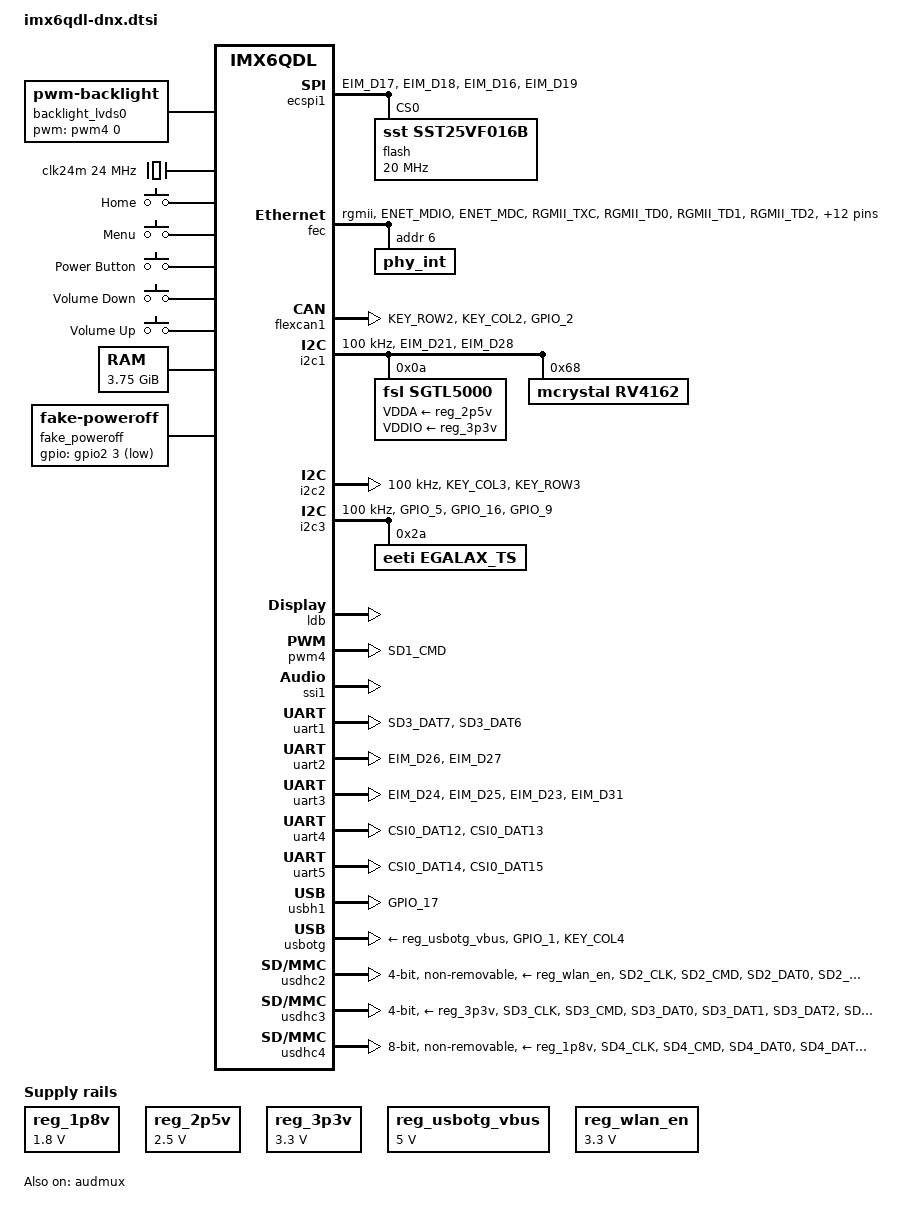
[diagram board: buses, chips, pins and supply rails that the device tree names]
/*
 * Copyright 2016 Boundary Devices, Inc.
 *
 * The code contained herein is licensed under the GNU General Public
 * License. You may obtain a copy of the GNU General Public License
 * Version 2 or later at the following locations:
 *
 * http://www.opensource.org/licenses/gpl-license.html
 * http://www.gnu.org/copyleft/gpl.html
 */
#include <dt-bindings/input/input.h>

&iomuxc {
	pinctrl-names = "default";
	pinctrl-0 = <&pinctrl_hog>;

	iomuxc_imx6q_dnx: iomuxc-imx6q-dnxgrp {
		status = "okay";
	};
};

&iomuxc_imx6q_dnx {
	pinctrl_audmux: audmuxgrp {
		fsl,pins = <
			MX6QDL_PAD_CSI0_DAT7__AUD3_RXD		0x130b0
			MX6QDL_PAD_CSI0_DAT4__AUD3_TXC		0x130b0
			MX6QDL_PAD_CSI0_DAT5__AUD3_TXD		0x110b0
			MX6QDL_PAD_CSI0_DAT6__AUD3_TXFS		0x130b0
		>;
	};

	pinctrl_bt_rfkill: bt-rfkillgrp {
		fsl,pins = <
#define GP_BT_RFKILL_RESET	<&gpio6 16 GPIO_ACTIVE_LOW>
			MX6QDL_PAD_NANDF_CS3__GPIO6_IO16	0x030b0
		>;
	};

	pinctrl_ecspi1: ecspi1grp {
		fsl,pins = <
			MX6QDL_PAD_EIM_D17__ECSPI1_MISO		0x100b1
			MX6QDL_PAD_EIM_D18__ECSPI1_MOSI		0x100b1
			MX6QDL_PAD_EIM_D16__ECSPI1_SCLK		0x000b1
#define GP_ECSPI1_NOR_CS	<&gpio3 19 GPIO_ACTIVE_LOW>
			MX6QDL_PAD_EIM_D19__GPIO3_IO19		0x0b0b1
		>;
	};

	pinctrl_enet: enetgrp {
		fsl,pins = <
			MX6QDL_PAD_ENET_MDIO__ENET_MDIO		0x1b0b0
			MX6QDL_PAD_ENET_MDC__ENET_MDC		0x1b0b0
			MX6QDL_PAD_RGMII_TXC__RGMII_TXC		0x1b0b0
			MX6QDL_PAD_RGMII_TD0__RGMII_TD0		0x1b0b0
			MX6QDL_PAD_RGMII_TD1__RGMII_TD1		0x1b0b0
			MX6QDL_PAD_RGMII_TD2__RGMII_TD2		0x1b0b0
			MX6QDL_PAD_RGMII_TD3__RGMII_TD3		0x1b0b0
			MX6QDL_PAD_RGMII_TX_CTL__RGMII_TX_CTL	0x1b0b0
			MX6QDL_PAD_ENET_REF_CLK__ENET_TX_CLK	0x1b0b0
			MX6QDL_PAD_RGMII_RXC__RGMII_RXC		0x1b0b0
			MX6QDL_PAD_RGMII_RD0__RGMII_RD0		0x1b0b0
			MX6QDL_PAD_RGMII_RD1__RGMII_RD1		0x1b0b0
			MX6QDL_PAD_RGMII_RD2__RGMII_RD2		0x1b0b0
			MX6QDL_PAD_RGMII_RD3__RGMII_RD3		0x1b0b0
			MX6QDL_PAD_RGMII_RX_CTL__RGMII_RX_CTL	0x1b0b0
#define GP_ENET_PHY_RESET	<&gpio1 27 GPIO_ACTIVE_LOW>
			MX6QDL_PAD_ENET_RXD0__GPIO1_IO27	0x030b0		/* ethernet phy reset */
#define GPIRQ_ENET_PHY		<&gpio1 28 IRQ_TYPE_LEVEL_LOW>
			MX6QDL_PAD_ENET_TX_EN__GPIO1_IO28	0x1b0b0		/* ethernet phy interrupt */
#define GPIRQ_ENET		<&gpio1 6 IRQ_TYPE_LEVEL_HIGH>
			MX6QDL_PAD_GPIO_6__ENET_IRQ		0x000b1
		>;
	};

	pinctrl_flexcan1: flexcan1grp {
		fsl,pins = <
			MX6QDL_PAD_KEY_ROW2__FLEXCAN1_RX	0x1b0b0
			MX6QDL_PAD_KEY_COL2__FLEXCAN1_TX	0x1b0b0
#define GP_FLEXCAN1_STANDBY	<&gpio1 2 GPIO_ACTIVE_HIGH>
			MX6QDL_PAD_GPIO_2__GPIO1_IO02		0x0b0b0
		>;
	};

	pinctrl_gpio_keys: gpio-keysgrp {
		fsl,pins = <
#define GP_GPIOKEY_BACK		<&gpio2 2 GPIO_ACTIVE_LOW>
			MX6QDL_PAD_NANDF_D2__GPIO2_IO02		0x1b0b0
#define GP_GPIOKEY_HOME		<&gpio2 4 GPIO_ACTIVE_LOW>
			MX6QDL_PAD_NANDF_D4__GPIO2_IO04		0x1b0b0
#define GP_GPIOKEY_MENU		<&gpio2 1 GPIO_ACTIVE_LOW>
			MX6QDL_PAD_NANDF_D1__GPIO2_IO01		0x1b0b0
#define GP_GPIOKEY_POWER	<&gpio2 3 GPIO_ACTIVE_LOW>
			MX6QDL_PAD_NANDF_D3__GPIO2_IO03		0x1b0b0
#define GP_GPIOKEY_VOL_DN	<&gpio4 5 GPIO_ACTIVE_LOW>
			MX6QDL_PAD_GPIO_19__GPIO4_IO05		0x1b0b0
#define GP_GPIOKEY_VOL_UP	<&gpio7 13 GPIO_ACTIVE_LOW>
			MX6QDL_PAD_GPIO_18__GPIO7_IO13		0x1b0b0
		>;
	};

	pinctrl_hog: hoggrp {
		fsl,pins = <
#define GP_HOG_TP71	<&gpio2 7 GPIO_ACTIVE_LOW>
			MX6QDL_PAD_NANDF_D7__GPIO2_IO07		0x1b0b0
		>;
	};

	pinctrl_i2c1: i2c1grp {
		fsl,pins = <
			MX6QDL_PAD_EIM_D21__I2C1_SCL		0x4001b8b1
			MX6QDL_PAD_EIM_D28__I2C1_SDA		0x4001b8b1
		>;
	};

	pinctrl_i2c1_rv4162: i2c1-rv4162grp {
		fsl,pins = <
#define GPIRQ_RTC_RV4162	<&gpio6 7 IRQ_TYPE_LEVEL_LOW>
			MX6QDL_PAD_NANDF_CLE__GPIO6_IO07	0x1b0b0
		>;
	};

	pinctrl_i2c1_sgtl5000: i2c1-sgtl5000grp {
		fsl,pins = <
			MX6QDL_PAD_GPIO_0__CCM_CLKO1		0x000b0		/* sys_mclk */
#define GP_SGTL5000_HP_MUTE	<&gpio3 29 GPIO_ACTIVE_LOW>
			MX6QDL_PAD_EIM_D29__GPIO3_IO29		0x130b0		/* amplifier mute, weak pull-down */
#define GP_SGTL5000_HP_DET	<&gpio3 2 GPIO_ACTIVE_LOW>
			MX6QDL_PAD_EIM_DA2__GPIO3_IO02		0x130b0
#define GP_SGTL5000_MIC_DET	<&gpio1 24 GPIO_ACTIVE_LOW>
			MX6QDL_PAD_ENET_RX_ER__GPIO1_IO24	0x130b0
		>;
	};

	pinctrl_i2c2: i2c2grp {
		fsl,pins = <
			MX6QDL_PAD_KEY_COL3__I2C2_SCL		0x4001b8b1
			MX6QDL_PAD_KEY_ROW3__I2C2_SDA		0x4001b8b1
		>;
	};

	pinctrl_i2c3: i2c3grp {
		fsl,pins = <
			MX6QDL_PAD_GPIO_5__I2C3_SCL		0x4001b8b1
			MX6QDL_PAD_GPIO_16__I2C3_SDA		0x4001b8b1
#define GPIRQ_I2C3_J7	<&gpio1 9 IRQ_TYPE_EDGE_FALLING>
#define GP_I2C3_J7	<&gpio1 9 GPIO_ACTIVE_LOW>
			MX6QDL_PAD_GPIO_9__GPIO1_IO09		0x1b0b0		/* I2C3 J7 interrupt */
		>;
	};

	pinctrl_pwm4: pwm4grp {
		/* Backlight on LVDS connector: J6 */
		fsl,pins = <
			MX6QDL_PAD_SD1_CMD__PWM4_OUT		0x030b1
		>;
	};

	pinctrl_reg_usbotg_vbus: reg-usbotg-vbusgrp {
		fsl,pins = <
#define GP_REG_USBOTG	<&gpio3 22 GPIO_ACTIVE_HIGH>
			MX6QDL_PAD_EIM_D22__GPIO3_IO22		0x030b0
		>;
	};

	pinctrl_reg_wlan_en: reg-wlan-engrp {
		fsl,pins = <
#define GP_REG_WLAN_EN	<&gpio6 15 GPIO_ACTIVE_HIGH>
			MX6QDL_PAD_NANDF_CS2__GPIO6_IO15	0x030b0
		>;
	};

	pinctrl_uart1: uart1grp {
		fsl,pins = <
			MX6QDL_PAD_SD3_DAT7__UART1_TX_DATA	0x1b0b1
			MX6QDL_PAD_SD3_DAT6__UART1_RX_DATA	0x1b0b1
		>;
	};

	pinctrl_uart2: uart2grp {
		fsl,pins = <
			MX6QDL_PAD_EIM_D26__UART2_TX_DATA	0x1b0b1
			MX6QDL_PAD_EIM_D27__UART2_RX_DATA	0x1b0b1
		>;
	};

	pinctrl_uart3: uart3grp {
		fsl,pins = <
			MX6QDL_PAD_EIM_D24__UART3_TX_DATA	0x1b0b1
			MX6QDL_PAD_EIM_D25__UART3_RX_DATA	0x1b0b1
			MX6QDL_PAD_EIM_D23__UART3_CTS_B		0x1b0b1
			MX6QDL_PAD_EIM_D31__UART3_RTS_B		0x1b0b1
		>;
	};

	pinctrl_uart4: uart4grp {
		fsl,pins = <
			MX6QDL_PAD_CSI0_DAT12__UART4_RX_DATA	0x1b0b1
			MX6QDL_PAD_CSI0_DAT13__UART4_TX_DATA	0x1b0b1
		>;
	};

	pinctrl_uart5: uart5grp {
		fsl,pins = <
			MX6QDL_PAD_CSI0_DAT14__UART5_RX_DATA	0x1b0b1
			MX6QDL_PAD_CSI0_DAT15__UART5_TX_DATA	0x1b0b1
		>;
	};

	pinctrl_usbh1: usbh1grp {
		fsl,pins = <
#define GP_USBH1_HUB_RESET	<&gpio7 12 GPIO_ACTIVE_LOW>
			MX6QDL_PAD_GPIO_17__GPIO7_IO12		0x030b0
		>;
	};

	pinctrl_usbotg: usbotggrp {
		fsl,pins = <
			MX6QDL_PAD_GPIO_1__USB_OTG_ID		0x17059
			MX6QDL_PAD_KEY_COL4__USB_OTG_OC		0x1b0b0
		>;
	};

	pinctrl_usdhc2: usdhc2grp {
		fsl,pins = <
			MX6QDL_PAD_SD2_CLK__SD2_CLK		0x10071
			MX6QDL_PAD_SD2_CMD__SD2_CMD		0x17071
			MX6QDL_PAD_SD2_DAT0__SD2_DATA0		0x17071
			MX6QDL_PAD_SD2_DAT1__SD2_DATA1		0x17071
			MX6QDL_PAD_SD2_DAT2__SD2_DATA2		0x17071
			MX6QDL_PAD_SD2_DAT3__SD2_DATA3		0x17071
			MX6QDL_PAD_SD1_CLK__OSC32K_32K_OUT	0x000b0		/* slow clock */
		>;
	};

	pinctrl_usdhc3: usdhc3grp {
		fsl,pins = <
			MX6QDL_PAD_SD3_CLK__SD3_CLK		0x10071
			MX6QDL_PAD_SD3_CMD__SD3_CMD		0x17071
			MX6QDL_PAD_SD3_DAT0__SD3_DATA0		0x17071
			MX6QDL_PAD_SD3_DAT1__SD3_DATA1		0x17071
			MX6QDL_PAD_SD3_DAT2__SD3_DATA2		0x17071
			MX6QDL_PAD_SD3_DAT3__SD3_DATA3		0x17071
#define GP_USDHC3_CD	<&gpio7 0 GPIO_ACTIVE_LOW>
			MX6QDL_PAD_SD3_DAT5__GPIO7_IO00		0x1b0b0
		>;
	};

	pinctrl_usdhc4: usdhc4grp {
		fsl,pins = <
			MX6QDL_PAD_SD4_CLK__SD4_CLK		0x10059
			MX6QDL_PAD_SD4_CMD__SD4_CMD		0x17059
			MX6QDL_PAD_SD4_DAT0__SD4_DATA0		0x17059
			MX6QDL_PAD_SD4_DAT1__SD4_DATA1		0x17059
			MX6QDL_PAD_SD4_DAT2__SD4_DATA2		0x17059
			MX6QDL_PAD_SD4_DAT3__SD4_DATA3		0x17059
			MX6QDL_PAD_SD4_DAT4__SD4_DATA4		0x17059
			MX6QDL_PAD_SD4_DAT5__SD4_DATA5		0x17059
			MX6QDL_PAD_SD4_DAT6__SD4_DATA6		0x17059
			MX6QDL_PAD_SD4_DAT7__SD4_DATA7		0x17059
#define GP_EMMC_RESET	<&gpio2 0 GPIO_ACTIVE_LOW>
			MX6QDL_PAD_NANDF_D0__GPIO2_IO00		0x1b0b0
		>;
	};

	pinctrl_wl1271: wl1271grp {
		fsl,pins = <
#define GPIRQ_WL1271	<&gpio6 14 IRQ_TYPE_LEVEL_HIGH>
			MX6QDL_PAD_NANDF_CS1__GPIO6_IO14	0x100b0
		>;
	};
};

/ {
	aliases {
		fb_lvds = &fb_lvds;
		ldb = &ldb;
		mmc0 = &usdhc3;
		mmc1 = &usdhc4;
		mmc2 = &usdhc2;
		mxcfb0 = &fb_lvds;
		t_lvds = &t_lvds;
	};

	backlight_lvds0 {
		brightness-levels = <0 1 2 3 4 5 6 7 8 9 10>;
		compatible = "pwm-backlight";
		default-brightness-level = <8>;
		display = <&fb_lvds>;
		pwms = <&pwm4 0 5000000>;
	};

	btwilink {
		compatible = "btwilink";
	};

	kim {
		compatible = "kim";
		pinctrl-names = "default";
		pinctrl-0 = <&pinctrl_bt_rfkill>;
		nshutdown_gpio = GP_BT_RFKILL_RESET;
		dev_name = "/dev/ttymxc2";
		flow_cntrl = <1>;
		baud_rate = <115200>;
 	};

	clocks {
		clk24m: clk24m {
			compatible = "fixed-clock";
			#clock-cells = <0>;
			clock-frequency = <24000000>;
		};
	};

	fb_lvds: fb@0 {
		compatible = "fsl,mxc_sdc_fb";
		disp_dev = "ldb";
		interface_pix_fmt = "RGB666";
		default_bpp = <16>;
		int_clk = <0>;
		late_init = <0>;
		status = "disabled";
	};

	gpio-keys {
		compatible = "gpio-keys";
		pinctrl-names = "default";
		pinctrl-0 = <&pinctrl_gpio_keys>;

		// GP_GPIOKEY_BACK used as low power warning
		//back {
		//	label = "Back";
		//	gpios = GP_GPIOKEY_BACK;
		//	linux,code = <KEY_BACK>;
		//};

		home {
			label = "Home";
			gpios = GP_GPIOKEY_HOME;
			linux,code = <KEY_HOMEPAGE>;
		};

		menu {
			label = "Menu";
			gpios = GP_GPIOKEY_MENU;
			linux,code = <KEY_MENU>;
		};

		power {
			label = "Power Button";
			gpios = GP_GPIOKEY_POWER;
			linux,code = <KEY_POWER>;	/* or KEY_SEARCH */
			gpio-key,wakeup;
		};

		volume-down {
			label = "Volume Down";
			gpios = GP_GPIOKEY_VOL_DN;
			linux,code = <KEY_VOLUMEDOWN>;
		};

		volume-up {
			label = "Volume Up";
			gpios = GP_GPIOKEY_VOL_UP;
			linux,code = <KEY_VOLUMEUP>;
		};
	};

	memory {
		reg = <0x10000000 0xeffffc00>;
	};

	regulators {
		compatible = "simple-bus";
		#address-cells = <1>;
		#size-cells = <0>;

		reg_1p8v: regulator@0 {
			compatible = "regulator-fixed";
			reg = <0>;
			regulator-name = "1P8V";
			regulator-min-microvolt = <1800000>;
			regulator-max-microvolt = <1800000>;
			regulator-always-on;
		};

		reg_2p5v: regulator@1 {
			compatible = "regulator-fixed";
			reg = <1>;
			regulator-name = "2P5V";
			regulator-min-microvolt = <2500000>;
			regulator-max-microvolt = <2500000>;
			regulator-always-on;
		};

		reg_3p3v: regulator@2 {
			compatible = "regulator-fixed";
			reg = <2>;
			regulator-name = "3P3V";
			regulator-min-microvolt = <3300000>;
			regulator-max-microvolt = <3300000>;
			regulator-always-on;
		};

		reg_usbotg_vbus: regulator@3 {
			compatible = "regulator-fixed";
			reg = <3>;
			pinctrl-names = "default";
			pinctrl-0 = <&pinctrl_reg_usbotg_vbus>;
			regulator-name = "usb_otg_vbus";
			regulator-min-microvolt = <5000000>;
			regulator-max-microvolt = <5000000>;
			gpio = GP_REG_USBOTG;
			enable-active-high;
		};

		reg_wlan_en: regulator@4 {
			compatible = "regulator-fixed";
			reg = <4>;
			pinctrl-names = "default";
			pinctrl-0 = <&pinctrl_reg_wlan_en>;
			regulator-name = "wlan-en";
			regulator-min-microvolt = <3300000>;
			regulator-max-microvolt = <3300000>;
			gpio = GP_REG_WLAN_EN;
			startup-delay-us = <70000>;
			enable-active-high;
		};
	};

	sound {
		compatible = "fsl,imx6q-dnx-sgtl5000",
			     "fsl,imx-audio-sgtl5000";
		model = "sgtl5000-audio";
		cpu-dai = <&ssi1>;
		audio-codec = <&sgtl5000>;
		audio-routing =
			"MIC_IN", "Mic Jack",
			"Mic Jack", "Mic Bias",
			"Headphone Jack", "HP_OUT";
		mux-int-port = <1>;
		mux-ext-port = <3>;
		mute-gpios = GP_SGTL5000_HP_MUTE;
	};

	v4l2_out {
		compatible = "fsl,mxc_v4l2_output";
		status = "okay";
	};

	wl1271 {
		compatible = "ti,wilink6";
		pinctrl-names = "default";
		pinctrl-0 = <&pinctrl_wl1271>;
		interrupts-extended = GPIRQ_WL1271; 
		clocks = <&refclock>;
		clock-names = "refclock";

		refclock: refclock {
			compatible = "ti,wilink-clock";
			#clock-cells = <0>;
			clock-frequency = <38400000>;
		};
	};

	fake_poweroff {
		compatible = "fake-poweroff";
		gpios = <&gpio2 3 GPIO_ACTIVE_LOW>;
		watchdog = <&wdog1>;
	};
};

&audmux {
	pinctrl-names = "default";
	pinctrl-0 = <&pinctrl_audmux>;
	status = "okay";
};

&ecspi1 {
	pinctrl-names = "default";
	pinctrl-0 = <&pinctrl_ecspi1>;
	fsl,spi-num-chipselects = <1>;
	cs-gpios = GP_ECSPI1_NOR_CS;
	status = "okay";

	flash: m25p80@0 {
		compatible = "sst,sst25vf016b";
		spi-max-frequency = <20000000>;
		reg = <0>;
		#address-cells = <1>;
		#size-cells = <1>;
		mtd@00000000 {
			label = "U-Boot";
			reg = <0x0 0xC0000>;
		};

		mtd@000C0000 {
			label = "env";
			reg = <0xC0000 0x2000>;
		};
		mtd@000C2000 {
			label = "splash";
			reg = <0xC2000 0x13e000>;
		};
	};
};

&fec {
	pinctrl-names = "default";
	pinctrl-0 = <&pinctrl_enet>;
	phy-mode = "rgmii";
#if 0
	phy-reset-gpios = GP_ENET_PHY_RESET;
#endif
	interrupts-extended = GPIRQ_ENET,
			      <&intc 0 119 IRQ_TYPE_LEVEL_HIGH>;
	status = "okay";

	#address-cells = <0>;
	#size-cells = <1>;
	phy_int {
		reg = <0x6>;
		interrupts-extended = GPIRQ_ENET_PHY;
	};
};

&flexcan1 {
	pinctrl-names = "default";
	pinctrl-0 = <&pinctrl_flexcan1>;
	trx-stby-gpio = GP_FLEXCAN1_STANDBY;
	status = "okay";
};

&i2c1 {
	clock-frequency = <100000>;
	pinctrl-names = "default";
	pinctrl-0 = <&pinctrl_i2c1>;
	status = "okay";

	sgtl5000: sgtl5000@0a {
		compatible = "fsl,sgtl5000";
		pinctrl-names = "default";
		pinctrl-0 = <&pinctrl_i2c1_sgtl5000>;
		reg = <0x0a>;
		clocks = <&clks IMX6QDL_CLK_CKO>;
		VDDA-supply = <&reg_2p5v>;
		VDDIO-supply = <&reg_3p3v>;
	};
	rv4162@68 {
		compatible = "mcrystal,rv4162";
		pinctrl-names = "default";
		pinctrl-0 = <&pinctrl_i2c1_rv4162>;
		reg = <0x68>;
		interrupts-extended = GPIRQ_RTC_RV4162;
	};
};

&i2c2 {
	clock-frequency = <100000>;
	pinctrl-names = "default";
	pinctrl-0 = <&pinctrl_i2c2>;
	status = "okay";
};

&i2c3 {
	clock-frequency = <100000>;
	pinctrl-names = "default";
	pinctrl-0 = <&pinctrl_i2c3>;
	status = "okay";

	egalax_ts@2a {
		compatible = "eeti,egalax_ts";
		reg = <0x2a>;
		interrupts-extended = GPIRQ_I2C3_J7;
		wakeup-gpios = GP_I2C3_J7;
		linux,wakeup;
	};
};

&ldb {
	status = "okay";

	lvds-channel@0 {
		crtc = "ipu1-di1";
		fsl,data-mapping = "spwg";
		fsl,data-width = <18>;
		status = "okay";
		primary;

		display-timings {
			t_lvds: t_lvds_default {
				/* lg1280x800 values may be changed in bootscript */
				clock-frequency = <72000000>;
				hactive = <1280>;
				vactive = <800>;
				hback-porch = <48>;
				hfront-porch = <80>;
				vback-porch = <15>;
				vfront-porch = <2>;
				hsync-len = <32>;
				vsync-len = <6>;
			};
		};
	};
};

&pwm4 {
	pinctrl-names = "default";
	pinctrl-0 = <&pinctrl_pwm4>;
	status = "okay";
};

&ssi1 {
	fsl,mode = "i2s-slave";
	status = "okay";
};

&uart1 {
	pinctrl-names = "default";
	pinctrl-0 = <&pinctrl_uart1>;
	status = "okay";
};

&uart2 {
	pinctrl-names = "default";
	pinctrl-0 = <&pinctrl_uart2>;
	status = "okay";
};

&uart3 {
	pinctrl-names = "default";
	pinctrl-0 = <&pinctrl_uart3>;
	fsl,uart-has-rtscts;
	status = "okay";
};

&uart4 {
	pinctrl-names = "default";
	pinctrl-0 = <&pinctrl_uart4>;
	status = "okay";
};

&uart5 {
	pinctrl-names = "default";
	pinctrl-0 = <&pinctrl_uart5>;
	status = "okay";
};

&usbh1 {
	pinctrl-names = "default";
	pinctrl-0 = <&pinctrl_usbh1>;
	disable-over-current;
	reset-gpios = GP_USBH1_HUB_RESET;
	status = "okay";
};

&usbotg {
	vbus-supply = <&reg_usbotg_vbus>;
	pinctrl-names = "default";
	pinctrl-0 = <&pinctrl_usbotg>;
	disable-over-current;
	status = "okay";
};

&usdhc2 {	/* uSDHC2, TiWi wl1271 */
	pinctrl-names = "default";
	pinctrl-0 = <&pinctrl_usdhc2>;
	bus-width = <4>;
	non-removable;
	vmmc-supply = <&reg_wlan_en>;
	vqmmc-1-8-v;
	cap-power-off-card;
	keep-power-in-suspend;
	status = "okay";
};

&usdhc3 {
	pinctrl-names = "default";
	pinctrl-0 = <&pinctrl_usdhc3>;
	bus-width = <4>;
	cd-gpios = GP_USDHC3_CD;
	vmmc-supply = <&reg_3p3v>;
	status = "okay";
};

&usdhc4 {
	pinctrl-names = "default";
	pinctrl-0 = <&pinctrl_usdhc4>;
	bus-width = <8>;
	non-removable;
	vqmmc-1-8-v;
	vmmc-supply = <&reg_1p8v>;
	keep-power-in-suspend;
	status = "okay";
};
